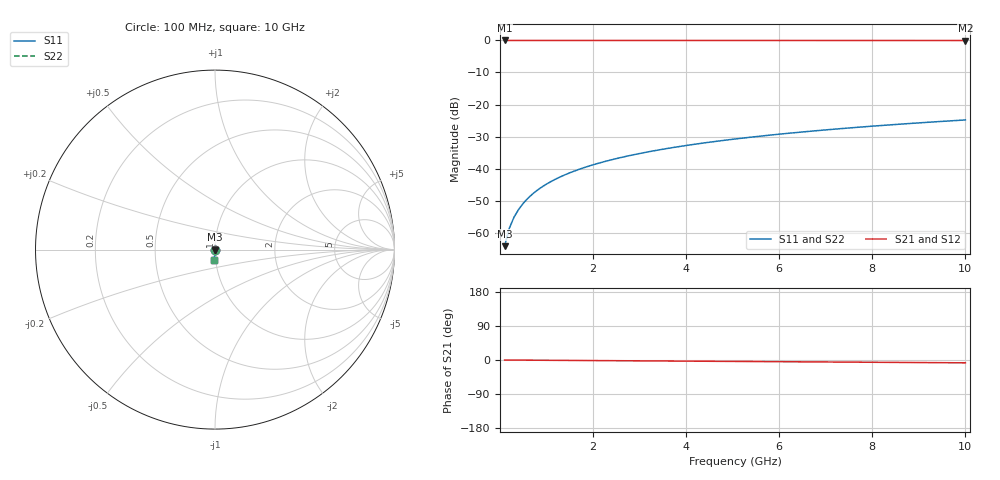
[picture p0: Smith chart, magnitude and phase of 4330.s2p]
# Hz S RI R 50.00
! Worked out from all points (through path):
!   100 points, 100 MHz to 10 GHz, reference 50 ohm
!   highest |S21| = 0.00 dB at 100 MHz (marker M1); lowest = 0.0 dB at 10 GHz (marker M2)
!   group delay of S21, straight-line fit = 2.07 ps
!   lowest |S11| = -64.2 dB at 100 MHz (marker M3), VSWR 1.00, Z = 50 - j0.0572 ohm
!   |S11| at or under -10 dB: start of sweep to end of sweep
!   |S22| runs from -64.2 to -24.8 dB; largest |S21 - S12| = 0
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1e8  0.000226 -0.000572  0.9998 -0.0013  0.9998 -0.0013  0.000226 -0.000572
2e8  0.000224 -0.00114  0.9998 -0.00259  0.9998 -0.00259  0.000224 -0.00114
3e8  0.000221 -0.00172  0.9998 -0.00389  0.9998 -0.00389  0.000221 -0.00172
4e8  0.000215 -0.00229  0.9997 -0.00518  0.9997 -0.00518  0.000215 -0.00229
5e8  0.000209 -0.00286  0.9997 -0.00648  0.9997 -0.00648  0.000209 -0.00286
6e8  0.0002 -0.00343  0.9997 -0.00777  0.9997 -0.00777  0.0002 -0.00343
7e8  0.00019 -0.00401  0.9997 -0.00907  0.9997 -0.00907  0.00019 -0.00401
8e8  0.000179 -0.00458  0.9997 -0.0104  0.9997 -0.0104  0.000179 -0.00458
9e8  0.000166 -0.00515  0.9997 -0.0117  0.9997 -0.0117  0.000166 -0.00515
1.1e9  0.000136 -0.0063  0.9996 -0.0143  0.9996 -0.0143  0.000136 -0.0063
1.4e9  7.87e-05 -0.00801  0.9996 -0.0181  0.9996 -0.0181  7.87e-05 -0.00801
1.8e9  -1.82e-05 -0.0103  0.9994 -0.0233  0.9994 -0.0233  -1.82e-05 -0.0103
2.1e9  -0.000107 -0.012  0.9993 -0.0272  0.9993 -0.0272  -0.000107 -0.012
2.5e9  -0.000246 -0.0143  0.9991 -0.0324  0.9991 -0.0324  -0.000246 -0.0143
2.9e9  -0.000408 -0.0166  0.9989 -0.0376  0.9989 -0.0376  -0.000408 -0.0166
3.4e9  -0.000645 -0.0195  0.9986 -0.0441  0.9986 -0.0441  -0.000645 -0.0195
4.2e9  -0.0011 -0.024  0.9979 -0.0545  0.9979 -0.0545  -0.0011 -0.024
5.1e9  -0.00173 -0.0292  0.9971 -0.0661  0.9971 -0.0661  -0.00173 -0.0292
5.9e9  -0.00239 -0.0337  0.9962 -0.0765  0.9962 -0.0765  -0.00239 -0.0337
6.7e9  -0.00315 -0.0383  0.9952 -0.0869  0.9952 -0.0869  -0.00315 -0.0383
8.4e9  -0.00508 -0.0479  0.9925 -0.1089  0.9925 -0.1089  -0.00508 -0.0479
1e10  -0.00728 -0.057  0.9895 -0.1296  0.9895 -0.1296  -0.00728 -0.057
